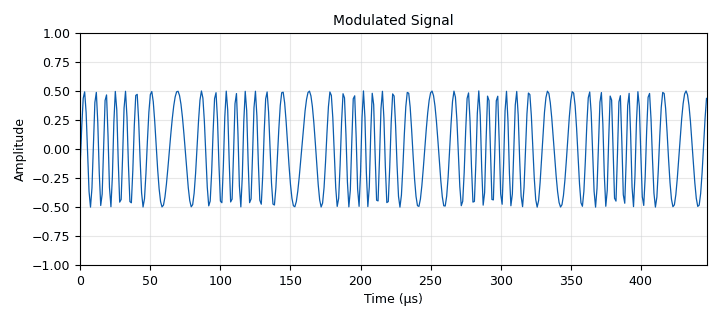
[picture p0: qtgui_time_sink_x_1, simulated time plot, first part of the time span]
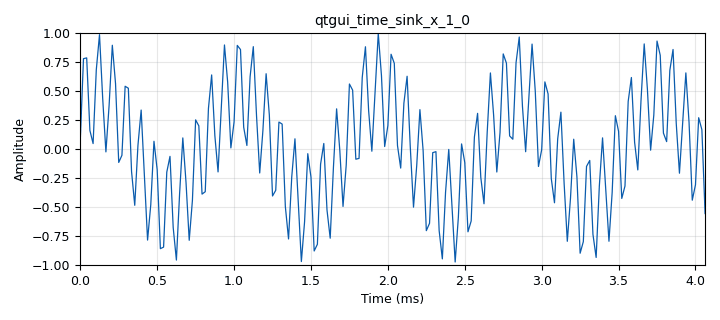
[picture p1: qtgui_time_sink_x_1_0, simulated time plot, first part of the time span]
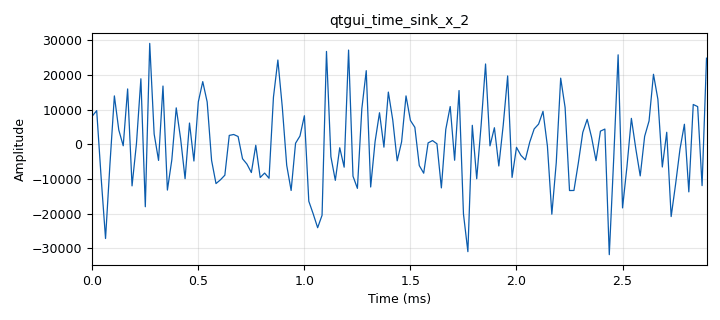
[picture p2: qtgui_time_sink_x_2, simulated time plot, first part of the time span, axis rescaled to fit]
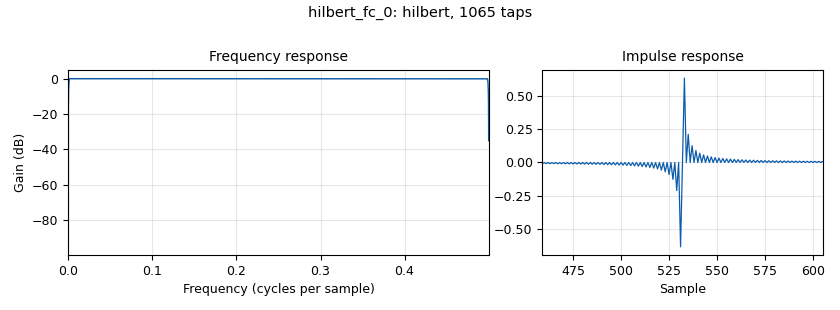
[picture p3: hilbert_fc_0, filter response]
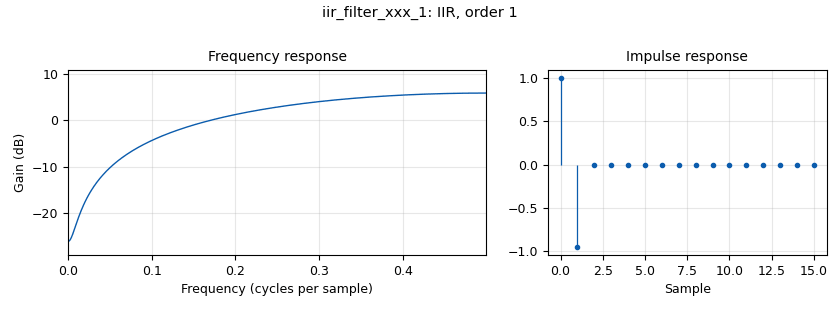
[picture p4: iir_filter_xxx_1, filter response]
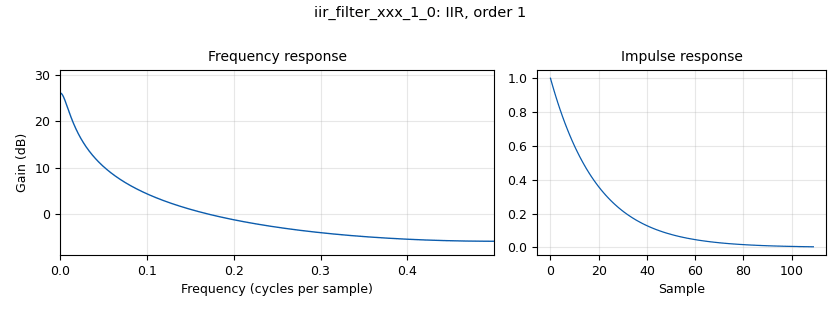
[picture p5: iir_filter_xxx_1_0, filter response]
options:
  parameters:
    generate_options: qt_gui
    id: fmod
    output_language: python
    title: fmod
  states: {}

blocks:
- name: quad_rate
  id: variable
  parameters:
    value: '960000'
  states: {}
- name: samp_rate
  id: variable
  parameters:
    value: '48000'
  states: {}
- name: analog_noise_source_x_2
  id: analog_noise_source_x
  parameters:
    amp: '0.2'
    noise_type: analog.GR_GAUSSIAN
    seed: '0'
    type: float
  states: {}
- name: analog_phase_modulator_fc_0
  id: analog_phase_modulator_fc
  parameters:
    sensitivity: (2*3.14*75000)
  states: {}
- name: analog_sig_source_x_0
  id: analog_sig_source_x
  parameters:
    amp: '0.5'
    freq: '11000'
    offset: '0'
    phase: '0'
    samp_rate: samp_rate
    type: float
    waveform: analog.GR_COS_WAVE
  states: {}
- name: analog_sig_source_x_0_0
  id: analog_sig_source_x
  parameters:
    amp: '0.5'
    freq: '1100'
    offset: '0'
    phase: '0'
    samp_rate: samp_rate
    type: float
    waveform: analog.GR_COS_WAVE
  states: {}
- name: analog_sig_source_x_0_1
  id: analog_sig_source_x
  parameters:
    amp: '0.5'
    freq: '100000'
    offset: '0'
    phase: '0'
    samp_rate: quad_rate
    type: complex
    waveform: analog.GR_COS_WAVE
  states: {}
- name: blocks_add_xx_0
  id: blocks_add_xx
  parameters:
    type: float
  states: {}
- name: blocks_add_xx_1
  id: blocks_add_xx
  parameters:
    type: float
  states: {}
- name: blocks_complex_to_arg_1
  id: blocks_complex_to_arg
  parameters: {}
  states: {}
- name: blocks_complex_to_float_0
  id: blocks_complex_to_float
  parameters: {}
  states: {}
- name: blocks_conjugate_cc_0
  id: blocks_conjugate_cc
  parameters: {}
  states: {state: disabled}
- name: blocks_delay_0
  id: blocks_delay
  parameters:
    delay: '1'
    type: complex
  states: {state: disabled}
- name: blocks_delay_1
  id: blocks_delay
  parameters:
    delay: '1'
    type: float
  states: {}
- name: blocks_multiply_const_vxx_0
  id: blocks_multiply_const_vxx
  parameters:
    const: quad_rate
    type: float
  states: {}
- name: blocks_multiply_xx_0
  id: blocks_multiply_xx
  parameters:
    type: complex
  states: {}
- name: blocks_multiply_xx_1
  id: blocks_multiply_xx
  parameters:
    type: complex
  states: {state: disabled}
- name: blocks_null_sink_0
  id: blocks_null_sink
  parameters:
    type: float
  states: {}
- name: blocks_sub_xx_0
  id: blocks_sub_xx
  parameters:
    type: float
  states: {}
- name: dc_blocker_xx_0
  id: dc_blocker_xx
  parameters:
    length: '32'
    long_form: 'True'
    type: ff
  states: {}
- name: hilbert_fc_0
  id: hilbert_fc
  parameters:
    num_taps: '1064'
  states: {}
- name: iir_filter_xxx_0
  id: iir_filter_xxx
  parameters:
    fbtaps: '[1,1]'
    fftaps: '[1/samp_rate]'
    type: ffd
  states: {}
- name: iir_filter_xxx_1
  id: iir_filter_xxx
  parameters:
    fbtaps: '[1]'
    fftaps: '[1, -0.95]'
    type: ffd
  states: {}
- name: iir_filter_xxx_1_0
  id: iir_filter_xxx
  parameters:
    fbtaps: '[1, 0.95]'
    fftaps: '[1]'
    type: ffd
  states: {}
- name: iir_filter_xxx_2
  id: iir_filter_xxx
  parameters:
    fbtaps: '1'
    fftaps: '[1,-1]'
    type: ffd
  states: {state: disabled}
- name: qtgui_time_sink_x_1
  id: qtgui_time_sink_x
  parameters:
    name: '"Modulated Signal"'
    size: '1024'
    srate: quad_rate
    type: float
  states: {}
- name: qtgui_time_sink_x_1_0
  id: qtgui_time_sink_x
  parameters:
    size: '1024'
    srate: samp_rate
    type: float
  states: {}
- name: qtgui_time_sink_x_2
  id: qtgui_time_sink_x
  parameters:
    size: '1024'
    srate: samp_rate
    type: float
  states: {}
- name: rational_resampler_xxx_0
  id: rational_resampler_xxx
  parameters:
    decim: samp_rate
    interp: quad_rate
    type: fff
  states: {}
- name: rational_resampler_xxx_1
  id: rational_resampler_xxx
  parameters:
    decim: quad_rate
    interp: samp_rate
    type: fff
  states: {}

connections:
- [analog_noise_source_x_2, '0', blocks_add_xx_1, '1']
- [analog_phase_modulator_fc_0, '0', blocks_multiply_xx_0, '0']
- [analog_sig_source_x_0, '0', blocks_add_xx_0, '1']
- [analog_sig_source_x_0_0, '0', blocks_add_xx_0, '0']
- [analog_sig_source_x_0_1, '0', blocks_multiply_xx_0, '1']
- [blocks_add_xx_0, '0', iir_filter_xxx_0, '0']
- [blocks_add_xx_0, '0', qtgui_time_sink_x_1_0, '0']
- [blocks_add_xx_1, '0', hilbert_fc_0, '0']
- [blocks_complex_to_arg_1, '0', blocks_delay_1, '0']
- [blocks_complex_to_arg_1, '0', blocks_sub_xx_0, '0']
- [blocks_complex_to_arg_1, '0', iir_filter_xxx_2, '0']
- [blocks_complex_to_float_0, '0', blocks_add_xx_1, '0']
- [blocks_complex_to_float_0, '0', qtgui_time_sink_x_1, '0']
- [blocks_complex_to_float_0, '1', blocks_null_sink_0, '0']
- [blocks_conjugate_cc_0, '0', blocks_multiply_xx_1, '1']
- [blocks_delay_0, '0', blocks_conjugate_cc_0, '0']
- [blocks_delay_1, '0', blocks_sub_xx_0, '1']
- [blocks_multiply_const_vxx_0, '0', rational_resampler_xxx_1, '0']
- [blocks_multiply_xx_0, '0', blocks_complex_to_float_0, '0']
- [blocks_multiply_xx_1, '0', blocks_complex_to_arg_1, '0']
- [blocks_sub_xx_0, '0', blocks_multiply_const_vxx_0, '0']
- [dc_blocker_xx_0, '0', qtgui_time_sink_x_2, '0']
- [hilbert_fc_0, '0', blocks_complex_to_arg_1, '0']
- [hilbert_fc_0, '0', blocks_delay_0, '0']
- [hilbert_fc_0, '0', blocks_multiply_xx_1, '0']
- [iir_filter_xxx_0, '0', iir_filter_xxx_1, '0']
- [iir_filter_xxx_1, '0', rational_resampler_xxx_0, '0']
- [iir_filter_xxx_1_0, '0', dc_blocker_xx_0, '0']
- [iir_filter_xxx_2, '0', blocks_multiply_const_vxx_0, '0']
- [rational_resampler_xxx_0, '0', analog_phase_modulator_fc_0, '0']
- [rational_resampler_xxx_1, '0', iir_filter_xxx_1_0, '0']

metadata:
  file_format: 1
